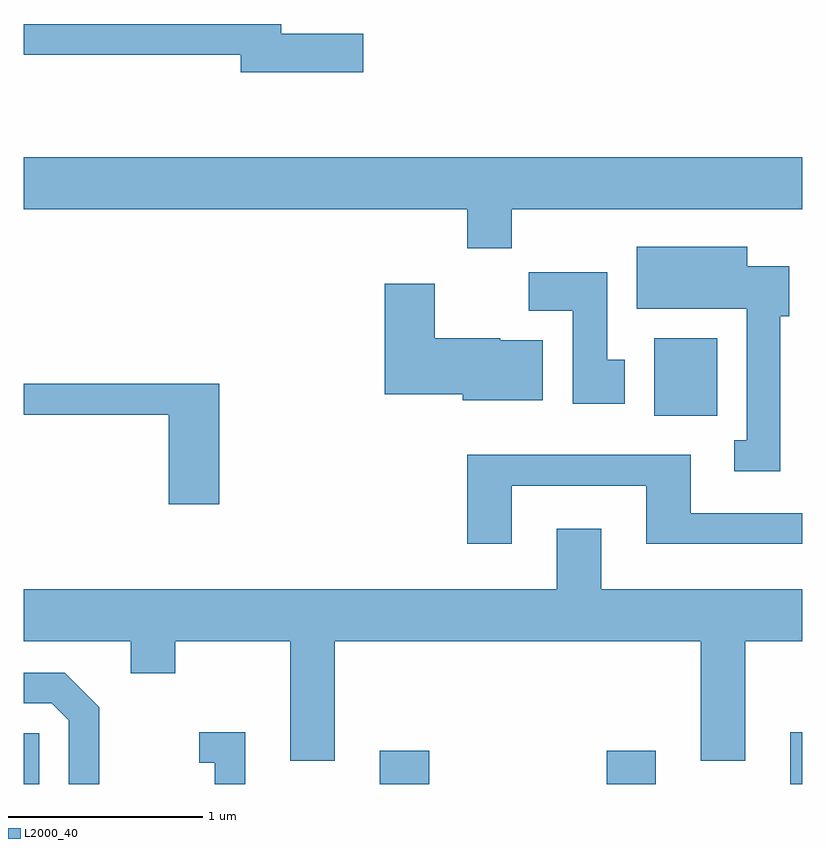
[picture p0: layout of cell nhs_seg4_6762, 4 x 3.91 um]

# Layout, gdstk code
import gdstk
lib = gdstk.Library(unit=1e-6, precision=1e-09)
def R(c, l, rs):  # rectangles x0, y0, x1, y1
    for r in rs: c.add(gdstk.rectangle(r[:2], r[2:], *l))
def P(c, l, *ps):  # polygons
    for p in ps: c.add(gdstk.Polygon(p, *l))
L2000_40 = (2000, 40)

nhs_seg4_6762 = lib.new_cell('nhs_seg4_6762')
R(nhs_seg4_6762, L2000_40, [(383.611,1313.982,383.689,1314.244), (385.441,1313.982,385.694,1314.154), (386.606,1313.982,386.859,1314.154), (387.551,1313.982,387.611,1314.249), (386.851,1315.876,387.174,1316.274)])
P(nhs_seg4_6762, L2000_40, [(385.354,1317.839),(384.934,1317.839),(384.934,1317.889),(383.611,1317.889),(383.611,1317.731),(384.726,1317.731),(384.726,1317.641),(385.354,1317.641)],
  [(386.119,1316.936),(387.611,1316.936),(387.611,1317.204),(383.611,1317.204),(383.611,1316.936),(385.891,1316.936),(385.891,1316.736),(386.119,1316.736)],
  [(387.499,1316.386),(387.544,1316.386),(387.544,1316.644),(387.329,1316.644),(387.329,1316.744),(386.761,1316.744),(386.761,1316.426),(387.326,1316.426),(387.326,1315.749),(387.263,1315.749),(387.263,1315.591),(387.499,1315.591)],
  [(386.699,1316.164),(386.609,1316.164),(386.609,1316.614),(386.206,1316.614),(386.206,1316.416),(386.431,1316.416),(386.431,1315.936),(386.699,1315.936)],
  [(386.279,1316.264),(386.06,1316.264),(386.06,1316.274),(385.724,1316.274),(385.724,1316.554),(385.466,1316.554),(385.466,1315.986),(385.866,1315.986),(385.866,1315.956),(386.279,1315.956)],
  [(384.614,1316.039),(383.611,1316.039),(383.611,1315.881),(384.356,1315.881),(384.356,1315.421),(384.614,1315.421)],
  [(386.119,1315.516),(386.811,1315.516),(386.811,1315.216),(387.611,1315.216),(387.611,1315.374),(387.039,1315.374),(387.039,1315.674),(385.891,1315.674),(385.891,1315.216),(386.119,1315.216)],
  [(385.209,1314.716),(387.091,1314.716),(387.091,1314.101),(387.319,1314.101),(387.319,1314.716),(387.611,1314.716),(387.611,1314.984),(386.579,1314.984),(386.579,1315.294),(386.351,1315.294),(386.351,1314.984),(383.611,1314.984),(383.611,1314.716),(384.161,1314.716),(384.161,1314.551),(384.389,1314.551),(384.389,1314.716),(384.981,1314.716),(384.981,1314.101),(385.209,1314.101)],
  [(383.999,1314.377),(383.822,1314.554),(383.611,1314.554),(383.611,1314.396),(383.754,1314.396),(383.841,1314.309),(383.841,1313.982),(383.999,1313.982)],
  [(384.749,1314.249),(384.513,1314.249),(384.513,1314.091),(384.591,1314.091),(384.591,1313.982),(384.749,1313.982)])

lib.write_gds('nhs_seg4_6762.gds')
